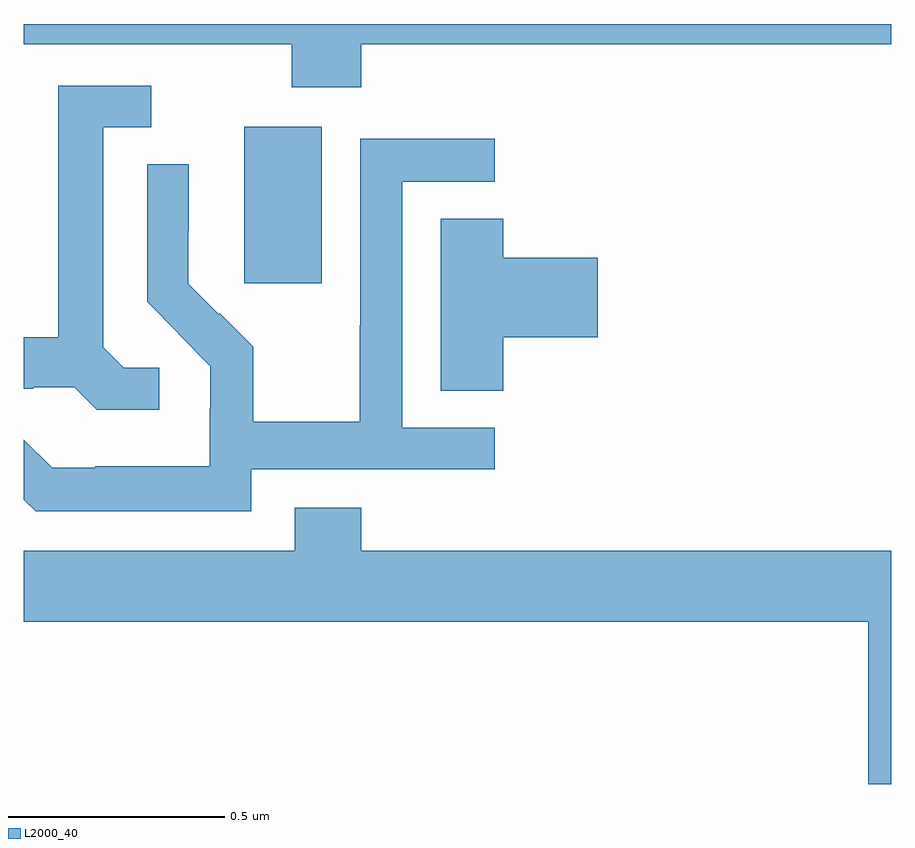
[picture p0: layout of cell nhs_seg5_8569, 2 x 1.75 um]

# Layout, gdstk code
import gdstk
lib = gdstk.Library(unit=1e-6, precision=1e-09)
def R(c, l, rs):  # rectangles x0, y0, x1, y1
    for r in rs: c.add(gdstk.rectangle(r[:2], r[2:], *l))
def P(c, l, *ps):  # polygons
    for p in ps: c.add(gdstk.Polygon(p, *l))
L2000_40 = (2000, 40)

nhs_seg5_8569 = lib.new_cell('nhs_seg5_8569')
R(nhs_seg5_8569, L2000_40, [(223.508,864.201,223.687,864.562)])
P(nhs_seg5_8569, L2000_40, [(223.778,864.752),(225,864.752),(225,864.799),(223,864.799),(223,864.752),(223.618,864.752),(223.618,864.653),(223.778,864.653)],
  [(223.312,864.006),(223.23,864.006),(223.183,864.053),(223.183,864.561),(223.294,864.561),(223.294,864.657),(223.079,864.657),(223.079,864.077),(223,864.077),(223,863.958),(223.022,863.958),(223.022,863.961),(223.116,863.961),(223.168,863.909),(223.312,863.909)],
  [(223.524,863.772),(224.086,863.772),(224.086,863.868),(223.872,863.868),(223.872,864.435),(224.086,864.435),(224.086,864.534),(223.776,864.534),(223.776,864.104),(223.774,864.104),(223.774,863.881),(223.529,863.881),(223.529,864.055),(223.452,864.132),(223.449,864.129),(223.379,864.2),(223.379,864.322),(223.38,864.322),(223.38,864.476),(223.284,864.476),(223.284,864.158),(223.357,864.085),(223.356,864.084),(223.43,864.01),(223.43,863.913),(223.428,863.913),(223.428,863.779),(223.165,863.779),(223.165,863.775),(223.065,863.775),(223,863.84),(223,863.702),(223.027,863.675),(223.524,863.675)],
  [(224.105,864.077),(224.323,864.077),(224.323,864.26),(224.105,864.26),(224.105,864.35),(223.961,864.35),(223.961,863.953),(224.105,863.953)],
  [(225,863.584),(223.778,863.584),(223.778,863.683),(223.625,863.683),(223.625,863.584),(223,863.584),(223,863.42),(224.948,863.42),(224.948,863.046),(225,863.046)])

lib.write_gds('nhs_seg5_8569.gds')
